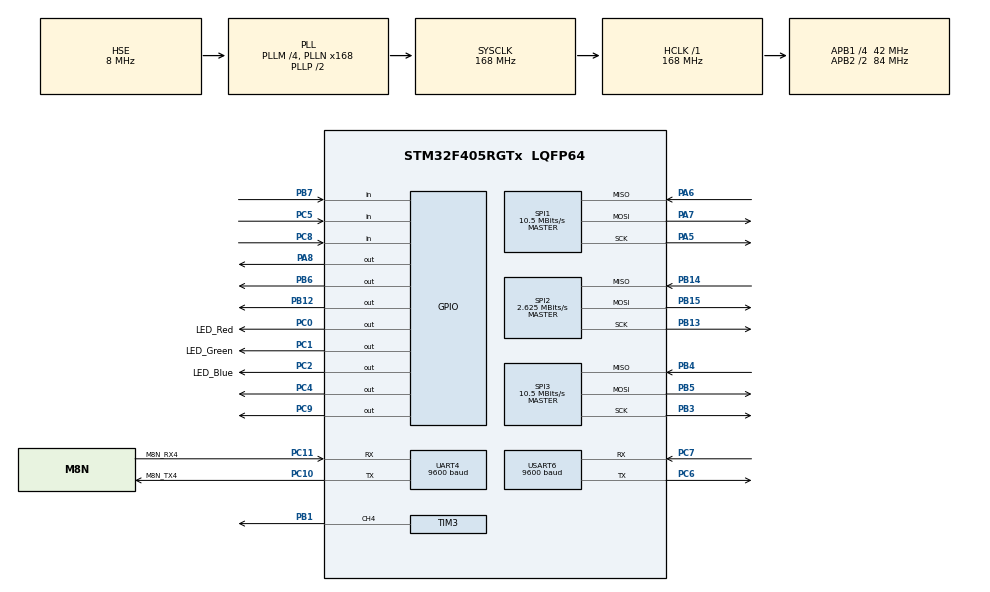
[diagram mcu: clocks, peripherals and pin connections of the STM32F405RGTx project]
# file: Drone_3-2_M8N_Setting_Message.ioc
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Mcu.Family=STM32F4
Mcu.Name=STM32F405RGTx
Mcu.Package=LQFP64
NVIC.PriorityGroup=NVIC_PRIORITYGROUP_4
NVIC.UART4_IRQn=true\:0\:0\:false\:false\:true\:true\:true\:true
NVIC.USART6_IRQn=true\:0\:0\:false\:false\:true\:true\:true\:true
PA5.Mode=Full_Duplex_Master
PA5.Signal=SPI1_SCK
PA6.Mode=Full_Duplex_Master
PA6.Signal=SPI1_MISO
PA7.Mode=Full_Duplex_Master
PA7.Signal=SPI1_MOSI
PA8.Signal=GPIO_Output
PB1.Signal=S_TIM3_CH4
PB12.Signal=GPIO_Output
PB13.Mode=Full_Duplex_Master
PB13.Signal=SPI2_SCK
PB14.Mode=Full_Duplex_Master
PB14.Signal=SPI2_MISO
PB15.Mode=Full_Duplex_Master
PB15.Signal=SPI2_MOSI
PB3.Mode=Full_Duplex_Master
PB3.Signal=SPI3_SCK
PB4.Mode=Full_Duplex_Master
PB4.Signal=SPI3_MISO
PB5.Mode=Full_Duplex_Master
PB5.Signal=SPI3_MOSI
PB6.Signal=GPIO_Output
PB7.Signal=GPIO_Input
PC0.GPIO_Label=LED_Red
PC0.Signal=GPIO_Output
PC1.GPIO_Label=LED_Green
PC1.Signal=GPIO_Output
PC10.GPIO_Label=M8N_TX4
PC10.Mode=Asynchronous
PC10.Signal=UART4_TX
PC11.GPIO_Label=M8N_RX4
PC11.Mode=Asynchronous
PC11.Signal=UART4_RX
PC2.GPIO_Label=LED_Blue
PC2.Signal=GPIO_Output
PC4.Signal=GPIO_Output
PC5.Signal=GPIO_Input
PC6.Mode=Asynchronous
PC6.Signal=USART6_TX
PC7.Mode=Asynchronous
PC7.Signal=USART6_RX
PC8.Signal=GPIO_Input
PC9.Signal=GPIO_Output
PH0-OSC_IN.Mode=HSE-External-Oscillator
PH0-OSC_IN.Signal=RCC_OSC_IN
PH1-OSC_OUT.Mode=HSE-External-Oscillator
PH1-OSC_OUT.Signal=RCC_OSC_OUT
ProjectManager.HeapSize=0x200
ProjectManager.StackSize=0x400
ProjectManager.TargetToolchain=STM32CubeIDE
RCC.48MHZClocksFreq_Value=84000000
RCC.AHBFreq_Value=168000000
RCC.APB1CLKDivider=RCC_HCLK_DIV4
RCC.APB1Freq_Value=42000000
RCC.APB1TimFreq_Value=84000000
RCC.APB2CLKDivider=RCC_HCLK_DIV2
RCC.APB2Freq_Value=84000000
RCC.APB2TimFreq_Value=168000000
RCC.CortexFreq_Value=168000000
RCC.HCLKFreq_Value=168000000
RCC.HSE_VALUE=8000000
RCC.HSI_VALUE=16000000
RCC.LSE_VALUE=32768
RCC.PLLM=4
RCC.PLLN=168
RCC.PLLSourceVirtual=RCC_PLLSOURCE_HSE
RCC.SYSCLKFreq_VALUE=168000000
RCC.SYSCLKSource=RCC_SYSCLKSOURCE_PLLCLK
RCC.VCOOutputFreq_Value=336000000
SH.S_TIM3_CH4.0=TIM3_CH4,PWM Generation4 CH4
SPI1.BaudRatePrescaler=SPI_BAUDRATEPRESCALER_8
SPI1.CLKPhase=SPI_PHASE_2EDGE
SPI1.CLKPolarity=SPI_POLARITY_HIGH
SPI1.CalculateBaudRate=10.5 MBits/s
SPI1.Direction=SPI_DIRECTION_2LINES
SPI1.Mode=SPI_MODE_MASTER
SPI1.VirtualType=VM_MASTER
SPI2.BaudRatePrescaler=SPI_BAUDRATEPRESCALER_16
SPI2.CLKPhase=SPI_PHASE_2EDGE
SPI2.CLKPolarity=SPI_POLARITY_HIGH
SPI2.CalculateBaudRate=2.625 MBits/s
SPI2.Direction=SPI_DIRECTION_2LINES
SPI2.Mode=SPI_MODE_MASTER
SPI2.VirtualType=VM_MASTER
SPI3.BaudRatePrescaler=SPI_BAUDRATEPRESCALER_4
SPI3.CLKPhase=SPI_PHASE_2EDGE
SPI3.CLKPolarity=SPI_POLARITY_HIGH
SPI3.CalculateBaudRate=10.5 MBits/s
SPI3.Direction=SPI_DIRECTION_2LINES
SPI3.Mode=SPI_MODE_MASTER
SPI3.VirtualType=VM_MASTER
TIM3.AutoReloadPreload=TIM_AUTORELOAD_PRELOAD_ENABLE
TIM3.Channel-PWM\ Generation4\ CH4=TIM_CHANNEL_4
TIM3.OCFastMode_PWM-PWM\ Generation4\ CH4=TIM_OCFAST_ENABLE
TIM3.Period=21-1
TIM3.Prescaler=1000-1
TIM3.Pulse-PWM\ Generation4\ CH4=11-1
UART4.BaudRate=9600
UART4.VirtualMode=Asynchronous
USART6.BaudRate=9600
USART6.VirtualMode=VM_ASYNC
VP_TIM3_VS_ClockSourceINT.Mode=Internal
board=custom

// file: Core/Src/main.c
/* USER CODE BEGIN Header */
/**
  ******************************************************************************
  * @file           : main.c
  * @brief          : Main program body
  ******************************************************************************
  * @attention
  *
  * Copyright (c) 2024 STMicroelectronics.
  * All rights reserved.
  *
  * This software is licensed under terms that can be found in the LICENSE file
  * in the root directory of this software component.
  * If no LICENSE file comes with this software, it is provided AS-IS.
  *
  ******************************************************************************
  */
/* USER CODE END Header */
#include "main.h"
#include "spi.h"
#include "tim.h"
#include "usart.h"
#include "gpio.h"

/* USER CODE BEGIN Includes */
#include "BNO080.h"
#include "Quaternion.h"
#include "ICM20602.h"
#include "LPS22HH.h"
/* USER CODE END Includes */

/* USER CODE BEGIN PTD */

int _write(int file, char *p, int len) {
	HAL_UART_Transmit(&huart6, p, len, 1);
	return len;
}

/* USER CODE END PTD */

/* USER CODE BEGIN PV */
uint8_t rxBuffer;
uint8_t rxBuffer2;
/* USER CODE END PV */

void SystemClock_Config(void);

int main(void)
{
  /* USER CODE BEGIN 1 */
	float q[4];
	float quatRadianAccuracy;
  /* USER CODE END 1 */

  /* MCU Configuration--------------------------------------------------------*/

  /* Reset of all peripherals, Initializes the Flash interface and the Systick. */
  HAL_Init();

  /* Configure the system clock */
  SystemClock_Config();

  /* Initialize all configured peripherals */
  MX_GPIO_Init();
  MX_TIM3_Init();
  MX_USART6_UART_Init();
  MX_SPI2_Init();
  MX_SPI1_Init();
  MX_SPI3_Init();
  MX_UART4_Init();
  /* USER CODE BEGIN 2 */

  HAL_TIM_PWM_Start(&htim3, TIM_CHANNEL_4);

  htim3.Instance->PSC=2000;
  HAL_Delay(100);
  htim3.Instance->PSC=1500;
  HAL_Delay(100);
  htim3.Instance->PSC=1000;
  HAL_Delay(100);

  HAL_TIM_PWM_Stop(&htim3, TIM_CHANNEL_4);

  HAL_UART_Receive_IT(&huart6, &rxBuffer, 1);
  HAL_UART_Receive_IT(&huart4, &rxBuffer2, 1);

  BNO080_Initialization();
  BNO080_enableRotationVector(2500);

  ICM20602_Initialization();
  LPS22HH_Initialization();
  /* USER CODE END 2 */

  /* Infinite loop */
  while (1)
  {

    /* USER CODE BEGIN 3 */
//	  if(BNO080_dataAvailable()==1)
//	  {
//		   q[0] = BNO080_getQuatI();
//		   q[1] = BNO080_getQuatJ();
//		   q[2] = BNO080_getQuatK();
//		   q[3] = BNO080_getQuatReal();
//		   quatRadianAccuracy = BNO080_getQuatAccuracy();
//
//		   Quaternion_Update(&q[0]);
//
//		   printf("%d,%d,%d\n", (int)(BNO080_Roll*100),(int)(BNO080_Pitch*100), (int)(BNO080_Yaw*100));
//	  }
//	  if(ICM20602_DataReady()==1){
//		  ICM20602_Get3AxisGyroRawData(&ICM20602.gyro_x_raw);
//
//		  ICM20602.gyro_x = ICM20602.gyro_x_raw * 2000.f / 32768.f;
//		  ICM20602.gyro_y = ICM20602.gyro_y_raw * 2000.f / 32768.f;
//		  ICM20602.gyro_z = ICM20602.gyro_z_raw * 2000.f / 32768.f;
//
//		  printf("%d,%d,%d\n",(int)(ICM20602.gyro_x_raw*100),
//				  (int)(ICM20602.gyro_y_raw*100),(int)(ICM20602.gyro_z_raw*100));
//	  }
//	  if(LPS22HH_DataReady()==1){
//		  LPS22HH_GetPressure(&LPS22HH.pressure_raw);
//		  LPS22HH_GetTemperature(&LPS22HH.temperature_raw);
//
//		  LPS22HH.baroAlt = getAltitude2(LPS22HH.pressure_raw/4096.f,LPS22HH.temperature_raw/100.f);
//
//#define X 0.90f
//
//		  LPS22HH.baroAltFilt = LPS22HH.baroAltFilt * X + LPS22HH.baroAlt *(1.0f - X);
//
//		  printf("%d,%d\n",(int)(LPS22HH.baroAlt*100), (int)(LPS22HH.baroAltFilt*100));
//	  }
  }
  /* USER CODE END 3 */
}

void SystemClock_Config(void)
{
  RCC_OscInitTypeDef RCC_OscInitStruct = {0};
  RCC_ClkInitTypeDef RCC_ClkInitStruct = {0};

  /** Configure the main internal regulator output voltage
  */
  __HAL_RCC_PWR_CLK_ENABLE();
  __HAL_PWR_VOLTAGESCALING_CONFIG(PWR_REGULATOR_VOLTAGE_SCALE1);

  /** Initializes the RCC Oscillators according to the specified parameters
  * in the RCC_OscInitTypeDef structure.
  */
  RCC_OscInitStruct.OscillatorType = RCC_OSCILLATORTYPE_HSE;
  RCC_OscInitStruct.HSEState = RCC_HSE_ON;
  RCC_OscInitStruct.PLL.PLLState = RCC_PLL_ON;
  RCC_OscInitStruct.PLL.PLLSource = RCC_PLLSOURCE_HSE;
  RCC_OscInitStruct.PLL.PLLM = 4;
  RCC_OscInitStruct.PLL.PLLN = 168;
  RCC_OscInitStruct.PLL.PLLP = RCC_PLLP_DIV2;
  RCC_OscInitStruct.PLL.PLLQ = 4;
  if (HAL_RCC_OscConfig(&RCC_OscInitStruct) != HAL_OK)
  {
    Error_Handler();
  }

  /** Initializes the CPU, AHB and APB buses clocks
  */
  RCC_ClkInitStruct.ClockType = RCC_CLOCKTYPE_HCLK|RCC_CLOCKTYPE_SYSCLK
                              |RCC_CLOCKTYPE_PCLK1|RCC_CLOCKTYPE_PCLK2;
  RCC_ClkInitStruct.SYSCLKSource = RCC_SYSCLKSOURCE_PLLCLK;
  RCC_ClkInitStruct.AHBCLKDivider = RCC_SYSCLK_DIV1;
  RCC_ClkInitStruct.APB1CLKDivider = RCC_HCLK_DIV4;
  RCC_ClkInitStruct.APB2CLKDivider = RCC_HCLK_DIV2;

  if (HAL_RCC_ClockConfig(&RCC_ClkInitStruct, FLASH_LATENCY_5) != HAL_OK)
  {
    Error_Handler();
  }
}

/* USER CODE BEGIN 4 */
void HAL_UART_RxCpltCallback(UART_HandleTypeDef *huart){
	if(huart->Instance == UART4){
		HAL_UART_Receive_IT(&huart4, &rxBuffer2, 1);
		HAL_UART_Transmit(&huart6, &rxBuffer2, 1, 0);
	}
	if(huart->Instance == USART6){
		HAL_UART_Receive_IT(&huart6, &rxBuffer, 1);
	  	HAL_UART_Transmit(&huart4, &rxBuffer, 1, 0);
	}
}
/* USER CODE END 4 */

void Error_Handler(void)
{
  __disable_irq();
  while (1)
  {
  }
}
